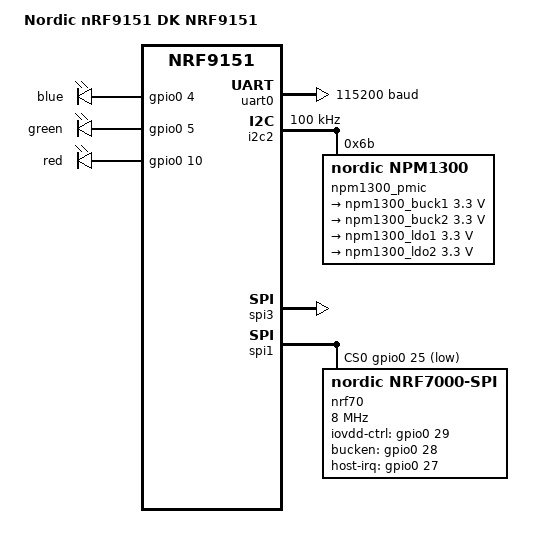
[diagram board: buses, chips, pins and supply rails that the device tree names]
/*
 * Copyright (c) 2023 Nordic Semiconductor ASA
 *
 * SPDX-License-Identifier: Apache-2.0
 */
#include "nrf9151dk_nrf9151_common-pinctrl.dtsi"
#include <zephyr/dt-bindings/i2c/i2c.h>
#include <zephyr/dt-bindings/regulator/npm13xx.h>

/ {
	model = "Nordic nRF9151 DK NRF9151";
	compatible = "nordic,nrf9151-dk-nrf9151";

	chosen {
	};

	aliases {
		watchdog0 = &wdt0;
		led-blue  = &led_blue;
		led-green = &led_green;
		led-red   = &led_red;
	};

	/* On-board user LEDs driven through N-MOSFET low-side switches:
	 * GPIO high → MOSFET on → LED on, so they are active-high.
	 * (Confirmed by red LED behaviour during step 3 bring-up.)
	 */
	leds {
		compatible = "gpio-leds";

		led_blue: led_blue {
			gpios = <&gpio0 4 GPIO_ACTIVE_HIGH>;
			label = "blue";
		};

		led_green: led_green {
			gpios = <&gpio0 5 GPIO_ACTIVE_HIGH>;
			label = "green";
		};

		led_red: led_red {
			gpios = <&gpio0 10 GPIO_ACTIVE_HIGH>;
			label = "red";
		};
	};
};

/* uart0 must stay enabled — TF-M uses it during secure boot before handing
 * off to the non-secure app. Zephyr console is routed to RTT via prj.conf. */
&uart0 {
	status = "okay";
	current-speed = <115200>;
	pinctrl-0 = <&uart0_default>;
	pinctrl-1 = <&uart0_sleep>;
	pinctrl-names = "default", "sleep";
};

/* GPIO0 is disabled by default in nrf91_peripherals.dtsi — enable it so
 * the app can drive software CS pins (and any future GPIO-controlled
 * signals) via DEVICE_DT_GET(DT_NODELABEL(gpio0)).
 */
&gpio0 {
	status = "okay";
};

&gpiote {
	status = "okay";
};

/* Bare i2c2 bus on P0.08 (SCL) / P0.09 (SDA) — children added incrementally
 * as peripherals are brought up. App can grab the bus via DT_NODELABEL(i2c2).
 */
&i2c2 {
	compatible = "nordic,nrf-twim";
	status = "okay";
	clock-frequency = <I2C_BITRATE_STANDARD>;
	pinctrl-0 = <&i2c2_default>;
	pinctrl-1 = <&i2c2_sleep>;
	pinctrl-names = "default", "sleep";

	/* nPM1300 PMIC. Charger child exposes battery voltage, NTC temp,
	 * and average current via the Zephyr sensor API. The empty
	 * regulators block is required by the binding even if we don't
	 * actively control BUCK/LDO from software yet.
	 *
	 * Battery profile (term-microvolt / current-microamp) is a
	 * conservative placeholder — refine when an actual cell is profiled.
	 * Thermistor 10 kΩ NTC, β=3380 (typical Murata NCP15WB473D03RC);
	 * update if a different NTC is fitted.
	 */
	npm1300_pmic: npm1300@6b {
		compatible = "nordic,npm1300";
		reg = <0x6b>;

		regulators {
			compatible = "nordic,npm1300-regulator";

			/* `regulator-always-on` + `regulator-boot-on` tell Zephyr's
			 * regulator framework to leave these rails at whatever state
			 * the PMIC defaulted to at power-on, instead of gating them
			 * during driver init. Without these, enabling
			 * CONFIG_REGULATOR_NPM13XX caused the rail supplying the SPI
			 * flash + IMU to get reconfigured (flash regressed from
			 * EF 40 18 to 00 00 00 after the npm1300 driver was added).
			 */

			/* BUCK1 → nRF7000 VBAT.
			 * BUCK2 → nRF7000 VDDIO + 3V3 rail (W25Q128JV NOR flash,
			 *         LSM6DSO, etc.).
			 *
			 * Hard nRF7000 supply constraint: VBAT ≥ VDDIO (datasheet).
			 * Original design had BUCK1 = 1.8 V / BUCK2 = 3.3 V which
			 * violates this — VBAT < VDDIO breaks the chip. Software fix
			 * on the existing board: invert the rails so BUCK1 = 3.3 V
			 * (nRF7000 VBAT) and BUCK2 = 2.7 V (NOR flash floor: W25Q128JV
			 * spec'd 2.7–3.6 V), giving a 0.6 V VBAT-to-VDDIO margin.
			 *
			 * Power note: nPM1300 BUCKs are limited to ~250 mA each.
			 * nRF7000 active scan exceeds that, so when the Wi-Fi driver
			 * is added the scan code MUST use passive scan only (no probe-
			 * request TX) — see steps.md step 9.
			 */
			npm1300_buck1: BUCK1 {
				regulator-init-microvolt = <3300000>;
				regulator-min-microvolt = <3300000>;
				regulator-max-microvolt = <3300000>;
				regulator-always-on;
				regulator-boot-on;
			};
			npm1300_buck2: BUCK2 {
				regulator-init-microvolt = <3300000>;
				regulator-min-microvolt = <3300000>;
				regulator-max-microvolt = <3300000>;
				regulator-always-on;
				regulator-boot-on;
			};
			/* LDO1 → GNSS antenna LNA VDD.
			 * Kept at BUCK2 voltage (3.3 V) — COEX0 swings
			 * 0..VDDIO_GPIO = 0..BUCK2, so LDO1 must match.
			 * LDO mode (not load-switch) so the voltage is regulated,
			 * not VSYS passthrough. v2: 20 µF output cap for stability.
			 */
			npm1300_ldo1: LDO1 {
				regulator-initial-mode = <NPM13XX_LDSW_MODE_LDO>;
				regulator-allowed-modes = <NPM13XX_LDSW_MODE_LDO>;
				regulator-init-microvolt = <3300000>;
				regulator-min-microvolt  = <3300000>;
				regulator-max-microvolt  = <3300000>;
				regulator-always-on;
				regulator-boot-on;
			};
			/* LDO2 → BGS12SN6E6 RF switch VDD. Not needed for
			 * current bring-up; kept in DTS but left disabled.
			 */
			npm1300_ldo2: LDO2 {
				regulator-initial-mode = <NPM13XX_LDSW_MODE_LDO>;
				regulator-allowed-modes = <NPM13XX_LDSW_MODE_LDO>;
				regulator-init-microvolt = <3300000>;
				regulator-min-microvolt  = <3300000>;
				regulator-max-microvolt  = <3300000>;
			};
		};

		npm1300_charger: charger {
			compatible = "nordic,npm1300-charger";
			term-microvolt = <4150000>;       /* 4.15 V cv termination, conservative for typical 4.2 V LiPo */
			current-microamp = <150000>;      /* 150 mA charge current — gentle */
			dischg-limit-microamp = <1000000>; /* 200000 or 1000000 only */
			vbus-limit-microamp = <500000>;   /* USB 2.0 default */
			thermistor-ohms = <10000>;
			thermistor-beta = <3380>;
			/* charging-enable; — temporarily off while debugging
			 * SPI flash JEDEC failures. Charging itself was
			 * validated at 158 mA earlier (matched the 150 mA
			 * setting). Re-enable once the flash issue is
			 * understood, in case CC charging current was somehow
			 * disturbing BUCK2 rail and affecting SPI.
			 */
		};
	};
};

/* Bare spi3 bus on P0.13 (SCK) / P0.14 (MISO) / P0.15 (MOSI).
 * CS pins are managed in software per-device (IMU on P0.16, flash on P0.12).
 */
&spi3 {
	compatible = "nordic,nrf-spim";
	status = "okay";
	pinctrl-0 = <&spi3_default>;
	pinctrl-1 = <&spi3_sleep>;
	pinctrl-names = "default", "sleep";
};

/* SPI1 → nRF7000 Wi-Fi chip. CS=P0.25 active-low managed by the SPI driver
 * via cs-gpios. Bus speed starts conservative at 8 MHz; nRF70 supports up
 * to 32 MHz, but bring-up wants headroom against any signal-integrity
 * surprises on the new traces.
 *
 * Power-up sequencing (handled automatically by the nrf70 driver):
 *   1. Drive bucken-gpios HIGH  → TCK106AG load switch closes, BUCK rail
 *                                 inside the nRF7000 powers up
 *   2. Wait ~5 ms (driver-internal)
 *   3. Drive iovdd-ctrl-gpios HIGH → second TCK106AG closes, IOVDD rail
 *                                    powers up
 *   4. Wait ~5 ms
 *   5. SPI handshake + firmware patch upload
 *
 * TCK106AG is the active-HIGH variant ("G" suffix; "F" would be active-LOW)
 * — both gating signals therefore use GPIO_ACTIVE_HIGH. Verify with a
 * multimeter on the load-switch outputs after first build.
 *
 * RF antenna sharing: the same antenna feeds nRF7000 (Wi-Fi) and nRF54L15
 * (BLE) through a BGS12SN6E6 SPDT switch. Switch VDD is now wired to LDO2
 * (handled below — pinned at 2.9 V to match the COEX0/GPIO logic level
 * rule from step 11). The switch's VC pin is gated by an RV2C010UNT2L
 * MOSFET driven by SW_CTRL0. **Open question (steps.md TBD): which chip
 * drives SW_CTRL0?** If it's an L15 GPIO and the L15 is held in reset
 * (HOLD_L15_IN_RESET=1 in main.c, currently true), SW_CTRL0 is high-Z and
 * the antenna may not be routed to the Wi-Fi path during this test —
 * scan results may show no APs even if the chip itself initialises
 * cleanly. Resolve before expecting real scan output.
 */
&spi1 {
	compatible = "nordic,nrf-spim";
	status = "okay";
	pinctrl-0 = <&spi1_default>;
	pinctrl-1 = <&spi1_sleep>;
	pinctrl-names = "default", "sleep";
	cs-gpios = <&gpio0 25 GPIO_ACTIVE_LOW>;

	nrf70: nrf7000@0 {
		/* nordic,nrf7000-spi is the proper variant for nRF7000 (single-
		 * spatial-stream, IP-only). The driver supports 7000/7001/7002
		 * via the same nrf70 backend; the compatible just selects
		 * which TX-power table the binding requires.
		 */
		compatible = "nordic,nrf7000-spi";
		status = "okay";
		reg = <0>;
		spi-max-frequency = <8000000>;

		iovdd-ctrl-gpios = <&gpio0 29 GPIO_ACTIVE_HIGH>;
		bucken-gpios = <&gpio0 28 (GPIO_ACTIVE_HIGH | GPIO_PULL_DOWN)>;
		host-irq-gpios = <&gpio0 27 GPIO_ACTIVE_HIGH>;

		/* Required TX-power ceiling table. Values in dBm with 1 dBm
		 * resolution. These are the conservative defaults from
		 * Nordic's reference samples. We're scan-only on this board
		 * (no TX), so the exact ceilings don't matter operationally,
		 * but the binding requires them for compile-time validation.
		 * Tighten these only after RF characterisation.
		 */
		wifi-max-tx-pwr-2g-dsss = <21>;
		wifi-max-tx-pwr-2g-mcs0 = <16>;
		wifi-max-tx-pwr-2g-mcs7 = <16>;
		wifi-max-tx-pwr-5g-low-mcs0  = <13>;
		wifi-max-tx-pwr-5g-low-mcs7  = <13>;
		wifi-max-tx-pwr-5g-mid-mcs0  = <13>;
		wifi-max-tx-pwr-5g-mid-mcs7  = <13>;
		wifi-max-tx-pwr-5g-high-mcs0 = <12>;
		wifi-max-tx-pwr-5g-high-mcs7 = <12>;

		/* The driver looks for a `nordic,wlan` child node — without
		 * it, the build fails with `'DT_N_INST_0_nordic_wlan_FULL_NAME'
		 * undeclared`. The child is just the netif binding; the
		 * compatible alone is enough.
		 */
		wlan0: wlan0 {
			compatible = "nordic,wlan";
			status = "okay";
		};
	};
};

/* Include default memory partition configuration file */
#include <nordic/nrf91xx_partition.dtsi>
